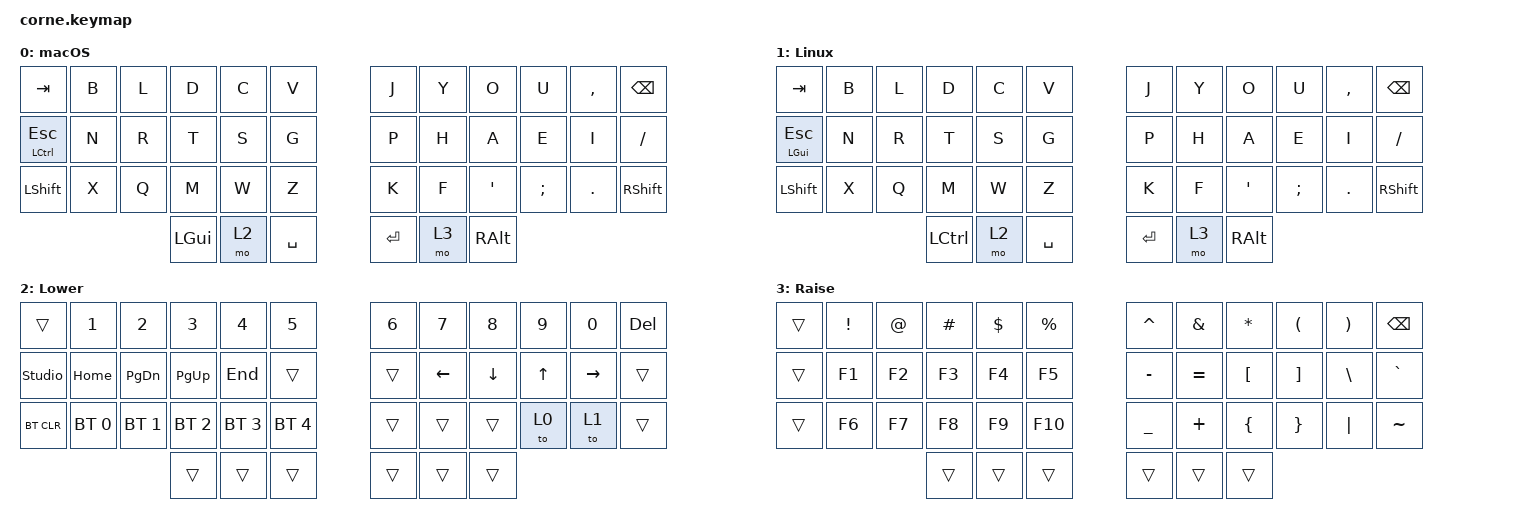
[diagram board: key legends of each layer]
/*
 * Copyright (c) 2020 The ZMK Contributors
 *
 * SPDX-License-Identifier: MIT
 */

#include <behaviors.dtsi>
#include <dt-bindings/zmk/bt.h>
#include <dt-bindings/zmk/keys.h>

/ {
    keymap {
        compatible = "zmk,keymap";

        macos_layer {
            // -----------------------------------------------------------------------------------------
            // |  TAB |  B  |  L  |  D  |  C  |  V  |   |  J  |  Y  |  O  |  U  |  ,  | BSPC |
            // |CT/ESC|  N  |  R  |  T  |  S  |  G  |   |  P  |  H  |  A  |  E  |  I  |  /   |
            // | SHFT |  X  |  Q  |  M  |  W  |  Z  |   |  K  |  F  |  '  |  ;  |  .  | SHFT |
            //                    | GUI | LWR | SPC |   | ENT | RSE | ALT |

            bindings = <
&kp TAB        &kp B  &kp L  &kp D     &kp C  &kp V        &kp J    &kp Y  &kp O    &kp U     &kp COMMA  &kp BSPC
&mt LCTRL ESC  &kp N  &kp R  &kp T     &kp S  &kp G        &kp P    &kp H  &kp A    &kp E     &kp I      &kp FSLH
&kp LSHFT      &kp X  &kp Q  &kp M     &kp W  &kp Z        &kp K    &kp F  &kp SQT  &kp SEMI  &kp DOT    &kp RSHFT
                              &kp LGUI  &mo 2  &kp SPACE    &kp RET  &mo 3  &kp RALT
            >;

            display-name = "macOS";
        };

        linux_layer {
            // -----------------------------------------------------------------------------------------
            // |  TAB |  B  |  L  |  D  |  C  |  V  |   |  J  |  Y  |  O  |  U  |  ,  | BSPC |
            // |SU/ESC|  N  |  R  |  T  |  S  |  G  |   |  P  |  H  |  A  |  E  |  I  |  /   |
            // | SHFT |  X  |  Q  |  M  |  W  |  Z  |   |  K  |  F  |  '  |  ;  |  .  | SHFT |
            //                    | CTRL| LWR | SPC |   | ENT | RSE | ALT |

            bindings = <
&kp TAB       &kp B  &kp L  &kp D      &kp C  &kp V        &kp J    &kp Y  &kp O    &kp U     &kp COMMA  &kp BSPC
&mt LGUI ESC  &kp N  &kp R  &kp T      &kp S  &kp G        &kp P    &kp H  &kp A    &kp E     &kp I      &kp FSLH
&kp LSHFT     &kp X  &kp Q  &kp M      &kp W  &kp Z        &kp K    &kp F  &kp SQT  &kp SEMI  &kp DOT    &kp RSHFT
                             &kp LCTRL  &mo 2  &kp SPACE    &kp RET  &mo 3  &kp RALT
            >;

            display-name = "Linux";
        };

        lower_layer {
            // -----------------------------------------------------------------------------------------
            // |      |  1  |  2  |  3  |  4  |  5  |   |  6  |  7  |  8  |  9  |  0  | DEL  |
            // |UNLCK |HOME |PG DN|PG UP| END |     |   |     |  ←  |  ↓  |  ↑  |  →  |      |
            // |BTCLR |BT 1 |BT 2 |BT 3 |BT 4 |BT 5 |   |     |     |     | to0 | to1 |      |
            //                    |     |     |     |   |     |     |     |

            bindings = <
&trans          &kp N1        &kp N2        &kp N3        &kp N4        &kp N5          &kp N6  &kp N7    &kp N8    &kp N9  &kp N0     &kp DEL
&studio_unlock  &kp HOME      &kp PG_DN     &kp PG_UP     &kp END       &trans          &trans  &kp LEFT  &kp DOWN  &kp UP  &kp RIGHT  &trans
&bt BT_CLR      &bt BT_SEL 0  &bt BT_SEL 1  &bt BT_SEL 2  &bt BT_SEL 3  &bt BT_SEL 4    &trans  &trans    &trans    &to 0   &to 1      &trans
                                             &trans        &trans        &trans          &trans  &trans    &trans
            >;

            display-name = "Lower";
        };

        raise_layer {
            // -----------------------------------------------------------------------------------------
            // |      |  !  |  @  |  #  |  $  |  %  |   |  ^  |  &  |  *  |  (  |  )  | BSPC |
            // |      | F1  | F2  | F3  | F4  | F5  |   |  -  |  =  |  [  |  ]  |  \  |  `   |
            // |      | F6  | F7  | F8  | F9  | F10 |   |  _  |  +  |  {  |  }  |  |  |  ~   |
            //                    |     |     |     |   |     |     |     |

            bindings = <
&trans  &kp EXCL  &kp AT  &kp HASH  &kp DLLR  &kp PRCNT    &kp CARET  &kp AMPS   &kp ASTRK  &kp LPAR  &kp RPAR  &kp BSPC
&trans  &kp F1    &kp F2  &kp F3    &kp F4    &kp F5       &kp MINUS  &kp EQUAL  &kp LBKT   &kp RBKT  &kp BSLH  &kp GRAVE
&trans  &kp F6    &kp F7  &kp F8    &kp F9    &kp F10      &kp UNDER  &kp PLUS   &kp LBRC   &kp RBRC  &kp PIPE  &kp TILDE
                          &trans    &trans    &trans       &trans     &trans     &trans
            >;

            display-name = "Raise";
        };
    };
};
